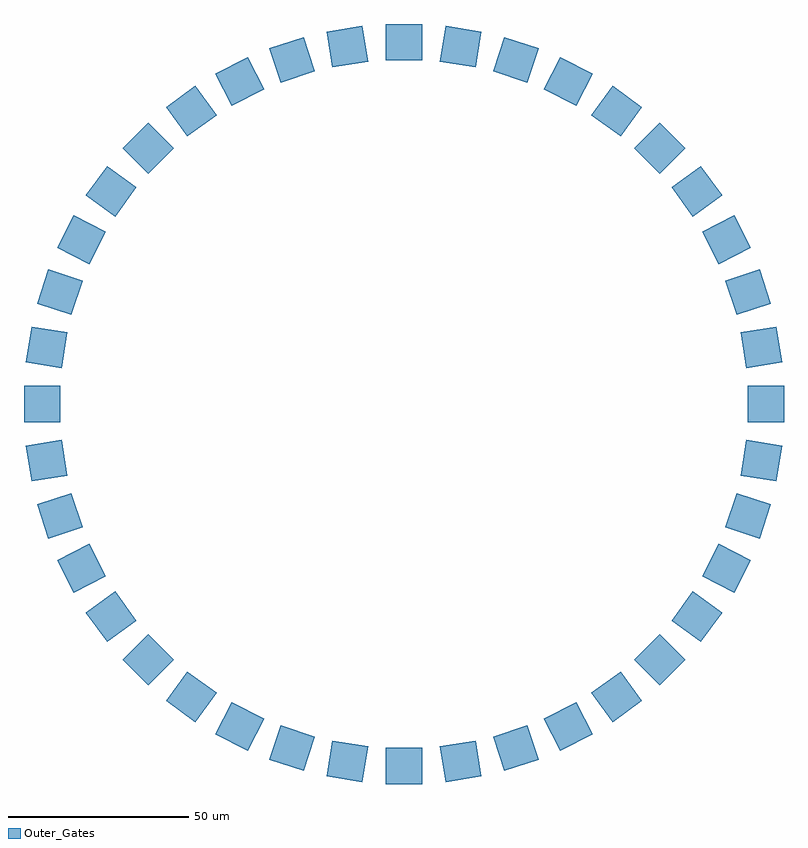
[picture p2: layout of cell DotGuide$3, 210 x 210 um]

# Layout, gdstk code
import gdstk
lib = gdstk.Library(unit=1e-6, precision=1e-09)
def R(c, l, rs):  # rectangles x0, y0, x1, y1
    for r in rs: c.add(gdstk.rectangle(r[:2], r[2:], *l))
def P(c, l, *ps):  # polygons
    for p in ps: c.add(gdstk.Polygon(p, *l))
Outer_Gates = (7, 0)

dotguide_3 = lib.new_cell('DotGuide$3')
R(dotguide_3, Outer_Gates, [(-5,-105,5,-95), (-105,-5,-95,5), (95,-5,105,5), (-5,95,5,105)])
P(dotguide_3, Outer_Gates, [(-19.8,93.048),(-21.364,102.925),(-11.487,104.489),(-9.923,94.613)],
  [(-34.112,88.805),(-37.202,98.316),(-27.692,101.406),(-24.601,91.895)],
  [(-47.584,82.376),(-52.124,91.286),(-43.214,95.826),(-38.674,86.916)],
  [(-59.885,73.918),(-65.763,82.008),(-57.672,87.886),(-51.795,79.796)],
  [(-70.711,63.64),(-77.782,70.711),(-70.711,77.782),(-63.64,70.711)],
  [(-79.796,51.795),(-87.886,57.672),(-82.008,65.763),(-73.918,59.885)],
  [(-86.916,38.674),(-95.826,43.214),(-91.286,52.124),(-82.376,47.584)],
  [(-91.895,24.601),(-101.406,27.692),(-98.316,37.202),(-88.805,34.112)],
  [(-94.613,9.923),(-104.489,11.487),(-102.925,21.364),(-93.048,19.8)],
  [(-102.925,-21.364),(-104.489,-11.487),(-94.613,-9.923),(-93.048,-19.8)],
  [(-98.316,-37.202),(-101.406,-27.692),(-91.895,-24.601),(-88.805,-34.112)],
  [(-91.286,-52.124),(-95.826,-43.214),(-86.916,-38.674),(-82.376,-47.584)],
  [(-82.008,-65.763),(-87.886,-57.672),(-79.796,-51.795),(-73.918,-59.885)],
  [(-70.711,-77.782),(-77.782,-70.711),(-70.711,-63.64),(-63.64,-70.711)],
  [(-57.672,-87.886),(-65.763,-82.008),(-59.885,-73.918),(-51.795,-79.796)],
  [(-43.214,-95.826),(-52.124,-91.286),(-47.584,-82.376),(-38.674,-86.916)],
  [(-27.692,-101.406),(-37.202,-98.316),(-34.112,-88.805),(-24.601,-91.895)],
  [(-11.487,-104.489),(-21.364,-102.925),(-19.8,-93.048),(-9.923,-94.613)],
  [(11.487,-104.489),(9.923,-94.613),(19.8,-93.048),(21.364,-102.925)],
  [(27.692,-101.406),(24.601,-91.895),(34.112,-88.805),(37.202,-98.316)],
  [(43.214,-95.826),(38.674,-86.916),(47.584,-82.376),(52.124,-91.286)],
  [(57.672,-87.886),(51.795,-79.796),(59.885,-73.918),(65.763,-82.008)],
  [(70.711,-77.782),(63.64,-70.711),(70.711,-63.64),(77.782,-70.711)],
  [(82.008,-65.763),(73.918,-59.885),(79.796,-51.795),(87.886,-57.672)],
  [(91.286,-52.124),(82.376,-47.584),(86.916,-38.674),(95.826,-43.214)],
  [(98.316,-37.202),(88.805,-34.112),(91.895,-24.601),(101.406,-27.692)],
  [(102.925,-21.364),(93.048,-19.8),(94.613,-9.923),(104.489,-11.487)],
  [(94.613,9.923),(93.048,19.8),(102.925,21.364),(104.489,11.487)],
  [(91.895,24.601),(88.805,34.112),(98.316,37.202),(101.406,27.692)],
  [(86.916,38.674),(82.376,47.584),(91.286,52.124),(95.826,43.214)],
  [(79.796,51.795),(73.918,59.885),(82.008,65.763),(87.886,57.672)],
  [(70.711,63.64),(63.64,70.711),(70.711,77.782),(77.782,70.711)],
  [(59.885,73.918),(51.795,79.796),(57.672,87.886),(65.763,82.008)],
  [(47.584,82.376),(38.674,86.916),(43.214,95.826),(52.124,91.286)],
  [(34.112,88.805),(24.601,91.895),(27.692,101.406),(37.202,98.316)],
  [(19.8,93.048),(9.923,94.613),(11.487,104.489),(21.364,102.925)])

lib.write_gds('DotGuide_3.gds')
